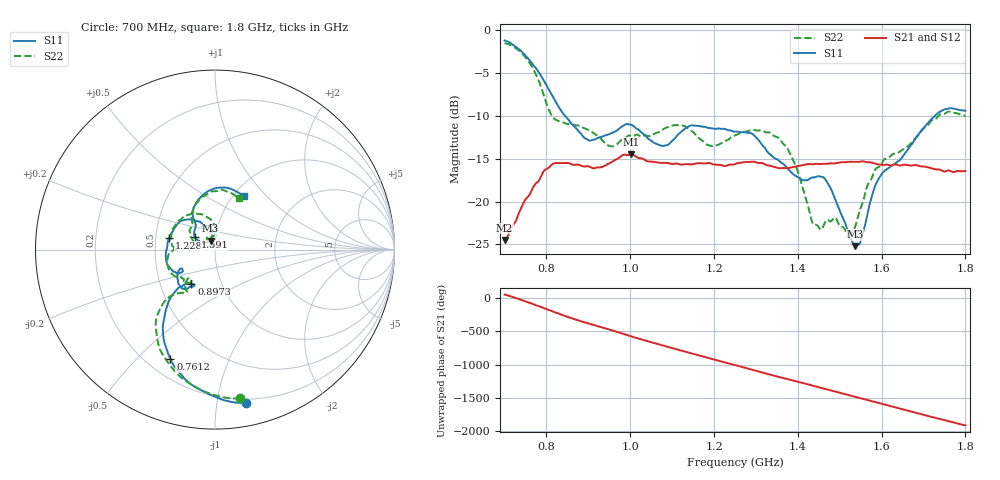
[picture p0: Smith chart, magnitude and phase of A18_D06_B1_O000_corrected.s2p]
! Created with skrf 1.9.0 (http://scikit-rf.org).
# Hz S RI R 50.0
!freq ReS11 ImS11 ReS21 ImS21 ReS12 ImS12 ReS22 ImS22
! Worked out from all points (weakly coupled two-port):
!   1601 points, 700 MHz to 1.8 GHz, reference 50 ohm
!   highest |S21| = -14.48 dB at 1.002 GHz (marker M1); lowest = -24.5 dB at 700 MHz (marker M2)
!   lowest |S11| = -25.2 dB at 1.537 GHz (marker M3), VSWR 1.12, Z = 47.4 + j4.66 ohm
!   |S11| at or under -10 dB: 844.6 MHz to 1.727 GHz (882 MHz wide, 68.6 % of centre)
!   |S22| runs from -23.9 to -1.5 dB; largest |S21 - S12| = 0.0035
!   S11 on the Smith chart (normalised r, x): 700 MHz: 0.17, -1.21; 761.2 MHz: 0.29, -0.63; 897.3 MHz: 0.72, -0.29; 1.228 GHz: 0.59, +0.09; 1.591 GHz: 0.79, +0.11; 1.8 GHz: 1.12, +0.75
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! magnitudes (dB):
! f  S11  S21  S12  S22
! 700 MHz  -1.2  -24.5  -24.3  -1.5
! 761.2 MHz  -3.6  -19.0  -18.9  -3.9
! 816.2 MHz  -7.8  -15.6  -15.7  -10.2
! 883.6 MHz  -12.2  -15.8  -15.7  -11.3
! 897.3 MHz  -12.7  -15.9  -15.9  -11.6
! 953.7 MHz  -12.0  -15.4  -15.4  -13.5
! 1.002 GHz  -11.0  -14.5  -14.6  -12.4
! 1.067 GHz  -13.3  -15.4  -15.4  -11.9
! 1.145 GHz  -11.1  -15.7  -15.6  -11.7
! 1.228 GHz  -11.6  -15.8  -15.8  -12.9
! 1.25 GHz  -11.8  -15.6  -15.6  -12.3
! 1.357 GHz  -15.3  -16.1  -16.0  -12.7
! 1.395 GHz  -17.0  -15.9  -15.9  -15.8
! 1.434 GHz  -17.2  -15.6  -15.6  -22.3
! 1.469 GHz  -17.7  -15.6  -15.6  -22.1
! 1.521 GHz  -23.7  -15.4  -15.4  -23.9
! 1.537 GHz  -25.2  -15.4  -15.4  -22.9
! 1.55 GHz  -24.5  -15.3  -15.3  -20.7
! 1.591 GHz  -17.5  -15.6  -15.6  -16.0
! 1.617 GHz  -16.1  -15.7  -15.7  -14.9
! 1.735 GHz  -9.6  -16.2  -16.3  -10.0
! 1.8 GHz  -9.4  -16.4  -16.4  -10.0
